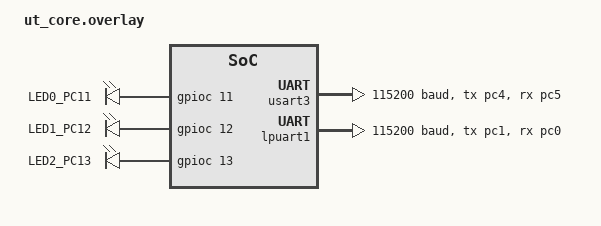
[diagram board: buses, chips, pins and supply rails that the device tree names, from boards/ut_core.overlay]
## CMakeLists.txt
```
# SPDX-License-Identifier: Apache-2.0

cmake_minimum_required(VERSION 3.20.0)

set(BOARD ut_core)

find_package(Zephyr REQUIRED HINTS $ENV{ZEPHYR_BASE})
project(gnss_node)

target_sources(app PRIVATE
    src/main.c
    #gps_test_app.c
    orion_b16/orion_b16_parser.c
    orion_b16/orion_b16_commands.c
    orion_b16/orion_b16_driver.c
    orion_b16/orion_b16_config.c
)

target_include_directories(app PRIVATE
    ${CMAKE_CURRENT_SOURCE_DIR}/orion_b16
    $ENV{ROOT}
)

add_subdirectory($ENV{ROOT}/common ${CMAKE_BINARY_DIR}/common)
target_link_libraries(app PRIVATE common)
```

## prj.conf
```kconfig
# # --- FLASH ---
# CONFIG_FLASH=y
# CONFIG_FLASH_MAP=y
# CONFIG_MPU_ALLOW_FLASH_WRITE=y

# CONFIG_CACHE_MANAGEMENT=y

# CONFIG_SERIAL=y
# CONFIG_UART_INTERRUPT_DRIVEN=y
# CONFIG_I2C=y
# CONFIG_CAN=y
# CONFIG_CAN_STM32_FDCAN=y

# # --- CONSOLE (UART on USART3) ---
# CONFIG_CONSOLE=y
# CONFIG_STDOUT_CONSOLE=y
# CONFIG_UART_CONSOLE=y

# # --- PRINTK / LOGGING ---
# CONFIG_PRINTK=y
# CONFIG_LOG=y
# CONFIG_LOG_BACKEND_UART=y
# CONFIG_LOG_MODE_DEFERRED=y
# CONFIG_LOG_BUFFER_SIZE=4096

# CONFIG_CBPRINTF_FP_SUPPORT=y

# CONFIG_MAIN_STACK_SIZE=4096

# CONFIG_GPIO=y
# CONFIG_CAN=y
# CONFIG_CAN_STM32_FDCAN=y

# # --- LOGGING & CONSOLE SETUP (RTT) ---
# # 1. Force the Console subsystem to stay ON
# CONFIG_CONSOLE=y
# CONFIG_STDOUT_CONSOLE=y

# # 2. Configure RTT as the backend
# CONFIG_USE_SEGGER_RTT=y
# CONFIG_RTT_CONSOLE=y

# # 3. Disable UART/Serial to prevent conflicts
# CONFIG_UART_CONSOLE=n
# CONFIG_SERIAL=n

# # 4. Connect Printk and Logging to RTT
# CONFIG_PRINTK=y
# CONFIG_LOG=y
# CONFIG_LOG_BACKEND_RTT=y
# CONFIG_LOG_BACKEND_UART=n
# CONFIG_LOG_MODE_IMMEDIATE=y

# CONFIG_NEWLIB_LIBC=y
# CONFIG_NEWLIB_LIBC_FLOAT_PRINTF=y


# ── Core ──
CONFIG_GPIO=y
CONFIG_I2C=y
CONFIG_MAIN_STACK_SIZE=4096

# ── Serial / UART (needed for GNSS on LPUART1) ──
CONFIG_SERIAL=y
CONFIG_UART_INTERRUPT_DRIVEN=y

# ── Console via Segger RTT (not UART) ──
CONFIG_CONSOLE=y
CONFIG_STDOUT_CONSOLE=y
CONFIG_USE_SEGGER_RTT=y
CONFIG_RTT_CONSOLE=y
CONFIG_UART_CONSOLE=n

# ── Logging via RTT ──
CONFIG_PRINTK=y
CONFIG_LOG=y
CONFIG_LOG_BACKEND_RTT=y
CONFIG_LOG_BACKEND_UART=n
CONFIG_LOG_MODE_IMMEDIATE=y
CONFIG_LOG_BUFFER_SIZE=4096

# ── Float printing (needed for lat/lon in LOG_INF) ──
CONFIG_NEWLIB_LIBC=y
CONFIG_NEWLIB_LIBC_FLOAT_PRINTF=y
CONFIG_CBPRINTF_FP_SUPPORT=y

# ── Flash ──
CONFIG_FLASH=y
CONFIG_FLASH_MAP=y
CONFIG_MPU_ALLOW_FLASH_WRITE=y
CONFIG_CACHE_MANAGEMENT=y

# ── CAN (if your board uses FDCAN) ──
CONFIG_CAN=y
CONFIG_CAN_STM32_FDCAN=y
```

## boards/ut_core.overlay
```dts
#include <zephyr/dt-bindings/gpio/gpio.h>

/ {
    pins {
        compatible = "gpio-leds";

        led0: led_0 {
            gpios = <&gpioc 11 GPIO_ACTIVE_HIGH>;
            label = "LED0_PC11";
        };

        led1: led_1 {
            gpios = <&gpioc 12 GPIO_ACTIVE_HIGH>;
            label = "LED1_PC12";
        };

        led2: led_2 {
            gpios = <&gpioc 13 GPIO_ACTIVE_HIGH>;
            label = "LED2_PC13";
        };
    };

    aliases {
        led0 = &led0;
        led1 = &led1;
        led2 = &led2;
    };

    chosen {
        zephyr,console = &usart3;
    };
};

&pinctrl {
    /* Console UART: USART3 on PC4 (TX) / PC5 (RX) */
    usart3_tx_pc4: usart3_tx_pc4 {
        pinmux = <STM32_PINMUX('C', 4, AF7)>;
    };

    usart3_rx_pc5: usart3_rx_pc5 {
        pinmux = <STM32_PINMUX('C', 5, AF7)>;
    };

    /* GNSS UART: LPUART1 on PC1 (TX) / PC0 (RX) → Orion B16 */
    lpuart1_tx_pc1: lpuart1_tx_pc1 {
        pinmux = <STM32_PINMUX('C', 1, AF8)>;
    };

    lpuart1_rx_pc0: lpuart1_rx_pc0 {
        pinmux = <STM32_PINMUX('C', 0, AF8)>;
    };
};

/* Console to PC */
&usart3 {
    status = "okay";
    current-speed = <115200>;
    pinctrl-0 = <&usart3_tx_pc4 &usart3_rx_pc5>;
    pinctrl-names = "default";
};

/* GNSS receiver (Orion B16) */
&lpuart1 {
    status = "okay";
    current-speed = <115200>;
    pinctrl-0 = <&lpuart1_tx_pc1 &lpuart1_rx_pc0>;
    pinctrl-names = "default";
};
```

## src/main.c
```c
/**
 * @defgroup gnss GNSS
 * @ingroup apps
 * @brief Global Navigation Satellite System
 * @include{doc} ./apps/GNSS/README.md
 */

/**
 * @file main.c
 * @ingroup gnss
 * @brief Orion B16 GNSS driver + CAN telemetry for UT-CORE bus.
 *
 * Initializes the Orion B16 GNSS receiver over UART and a CAN transceiver,
 * then runs a loop broadcasting heartbeats and periodic GNSS state-of-health
 * and position telemetry, while a separate thread handles incoming CAN
 * commands (position queries, update-rate changes) from CDH.
 *
 * @todo move CAN code shared between apps into the `common/` directory at git root.
 */

#include <zephyr/kernel.h>
#include <zephyr/device.h>
#include <zephyr/devicetree.h>
#include <zephyr/drivers/gpio.h>
#include <zephyr/drivers/can.h>
#include <zephyr/logging/log.h>
#include <string.h>

#include "orion_b16_driver.h"
#include "orion_b16_protocol.h"
#include "orion_b16_messages.h"
#include "common/can_proto.h"

/** @cond */ /* Hidden from Doxygen, or it will mistake this as a function */
LOG_MODULE_REGISTER(gnss_app, CONFIG_LOG_DEFAULT_LEVEL);
/** @endcond */

/* ===================================================== */
/* ================= CAN PROTOCOL ====================== */
/* ===================================================== */
/*
 * @name CAN Protocol
 * @brief Node IDs, priorities, and timing constants used on the bus.
 * @{
 */

#define NODE_ID       GNSS_ID   /* 0x06 */
#define NODE_CDH      CDH_ID    /* 0x01 */

#define PRIO_HIGH  0
#define PRIO_MED   2
#define PRIO_LOW   4

#define TIME_INTERVAL_MS   (60*60*1000) /* Send GPS time to CDH every hour */


/* @} */

/* ===================================================== */
/* ================= HW DEVICES ======================== */
/* ===================================================== */
/*
 * @name Hardware Devices
 * @brief GPIO/CAN device handles, transceiver pins, GNSS driver instance,
 *        and the CAN RX message queue.
 * @{
 */

static const struct device *const gpioa  = DEVICE_DT_GET(DT_NODELABEL(gpioa));
static const struct device *const can_dev = DEVICE_DT_GET(DT_NODELABEL(fdcan1));

/* GNSS driver instance */
static orion_driver_t gnss_driver;

/** @cond */ /* Hidden from Doxygen, or it will mistake this as a function */
/* CAN RX queue */
CAN_MSGQ_DEFINE(rxq, 16);
/** @endcond */

/* @} */

/* ===================================================== */
/* ================= CAN TX ============================ */
/* ===================================================== */
/*
 * @name CAN TX
 * @brief Outbound CAN frame construction: heartbeat, state-of-health, and
 *        position telemetry.
 * @{
 */

/**
 * @brief Broadcast an OP_HEARTBEAT frame announcing this node is alive.
 *
 * Sent periodically from main()'s loop at HEARTBEAT_INTERVAL_MS.
 */
static void send_heartbeat(void)
{
    int err = can_send2(can_dev, NODE_ID, CAN_BROADCAST, OP_HEARTBEAT, PRIO_LOW, 0x00, 0x00);
    if (err) {
        LOG_WRN("Failed to send CAN reply: %d", err);
    }
    LOG_INF("TX heartbeat");
}

/**
 * @brief Send a state-of-health frame: fix status, SV count, and DOP.
 *
 * Packs fix mode, satellite count, HDOP/PDOP (scaled by 10 and clamped to
 * 255), configured update rate, and a driver-running status flag into an
 * 8-byte OP_SOH_GNSS frame addressed to CDH.
 *
 * Payload:
 *   [0] fix_mode  (0=none, 2=2D, 3=3D, 4=3D+DGPS)
 *   [1] sv_count
 *   [2] HDOP * 10  (clamped to 255)
 *   [3] PDOP * 10  (clamped to 255)
 *   [4] update_rate_hz
 *   [5] status flags (bit0 = driver running)
 *   [6..7] unused (0)
 *
 * @todo hdop/pdop are divided by 10 under a comment claiming the source
 *       value is already ×100 ("we want *10"), but the resulting math
 *       (÷10 on a ×100 value) yields ×10 scale only if that premise is
 *       correct — worth double-checking against orion_nav_data_t's actual
 *       documented units to confirm hdop/pdop aren't ×1000 or similar,
 *       since a silent scale error here wouldn't be caught by the clamp.
 */
static void send_gnss_soh(void)
{
    orion_nav_data_t nav;
    orion_driver_get_nav(&gnss_driver, &nav);

    uint16_t hdop10 = nav.hdop / 10;  /* hdop is *100, we want *10 */
    uint16_t pdop10 = nav.pdop / 10;
    if (hdop10 > 255) hdop10 = 255;
    if (pdop10 > 255) pdop10 = 255;

    uint8_t flags = gnss_driver.running ? 0x01 : 0x00;

    int err = can_send8(can_dev, NODE_ID, NODE_CDH, OP_SOH_GNSS, PRIO_LOW,
        nav.fix_mode,
        nav.sv_count,
        (uint8_t)hdop10,
        (uint8_t)pdop10,
        gnss_driver.cfg.update_rate_hz,
        flags,
        0,
        0
    );
    if (err) {
        LOG_WRN("Failed to send OP_SOH_GNSS: %d", err);
    }

    LOG_INF("TX SOH  fix=%u sv=%u hdop=%u pdop=%u",
            nav.fix_mode, nav.sv_count, (unsigned)hdop10, (unsigned)pdop10);
}

/**
 * @brief Send a position telemetry frame with lat/lon packed as scaled
 *        24-bit integers.
 *
 * Converts nav.latitude_1e7/longitude_1e7 (1e-7 degree units) down to
 * 1e-4 degree resolution (~11m) and packs each as a signed 24-bit
 * big-endian value into an 8-byte OP_GNSS_POS frame addressed to CDH.
 * Does nothing if the current nav fix is not valid.
 *
 * Packs lat/lon as scaled int24 for decent resolution in 8 bytes:
 *   [0..2] latitude  × 1e4, signed 24-bit big-endian  (~11m resolution)
 *   [3..5] longitude × 1e4, signed 24-bit big-endian
 */
static void send_gnss_position(orion_nav_data_t *nav)
{
    /* lat/lon are in 1e-7 degrees; divide by 1000 → 1e-4 degrees */
    int32_t lat_1e4 = nav->latitude_1e7  / 1000;
    int32_t lon_1e4 = nav->longitude_1e7 / 1000;

    /* lat/lon: 24-bit big-endian each; bytes 6..7 unused (0) */
    int err = can_send8(can_dev, NODE_ID, NODE_CDH, OP_GNSS_POS, PRIO_MED,
        (lat_1e4 >> 16) & 0xFF,
        (lat_1e4 >>  8) & 0xFF,
        (lat_1e4      ) & 0xFF,
        (lon_1e4 >> 16) & 0xFF,
        (lon_1e4 >>  8) & 0xFF,
        (lon_1e4      ) & 0xFF,
        0,
        0
    );
    if (err) {
        LOG_WRN("Failed to send OP_GNSS_POS: %d", err);
    }

    double lat = ORION_DEG_FROM_1E7(nav->latitude_1e7);
    double lon = ORION_DEG_FROM_1E7(nav->longitude_1e7);
    LOG_INF("TX POS  lat=%.6f lon=%.6f", lat, lon);
}


/**
 * @brief Send one ECEF velocity component to CDH in its own telemetry frame.
 * @param v_data Velocity component in cm/s (signed 32-bit).
 * @param op     Which axis: OP_GNSS_VX, OP_GNSS_VY or OP_GNSS_VZ.
 * @param seq    Sequence number shared by the VX/VY/VZ frames of one nav
 *               snapshot, so CDH can tell whether the three axes belong
 *               together.
 *
 * Frame layout:
 *   [0..3] velocity, signed 32-bit big-endian (cm/s)
 *   [4] seq (uint8_t, wraps 255 -> 0)
 *   [5..7] unused (0)
 */
static void send_gnss_velocity(int32_t v_data, uint16_t op, uint8_t seq)
{
    /* velocity: 32-bit big-endian in [0..3]; [4] = sequence number shared by
     * VX/VY/VZ from the same nav snapshot; [5..7] unused (0) */
    int err = can_send8(can_dev, NODE_ID, NODE_CDH, op, PRIO_MED,
        (v_data >> 24) & 0xFF,
        (v_data >> 16) & 0xFF,
        (v_data >> 8) & 0xFF,
        (v_data     ) & 0xFF,
        seq,
        0,
        0,
        0
    );
    if (err) {
        LOG_WRN("Failed to send velocity op=0x%03X: %d", op, err);
    }

    LOG_INF("TX VEL  op=0x%03X seq=%u v=%d cm/s", op, seq, v_data);
}

/**
 * @brief Send position and all three velocity components for the current
 *        nav fix.
 *
 * Does nothing if the nav data is not valid. The three velocity frames
 * share one sequence number (vel_seq), which increments once per call, so
 * CDH can detect a dropped or mixed-up velocity set. The counter is
 * compared for equality only, so its 8-bit wrap needs no special handling.
 */
static void send_gnss_master(void)
{
    static uint8_t vel_seq;  /* wraps 255 -> 0; CDH only compares for equality */
    orion_nav_data_t nav;
    orion_driver_get_nav(&gnss_driver, &nav);

    if (!nav.valid) {
        return;  /* don't send garbage */
    }

    send_gnss_position(&nav);
    send_gnss_velocity(nav.ecef_vx_cms, OP_GNSS_VX, vel_seq);
    send_gnss_velocity(nav.ecef_vy_cms, OP_GNSS_VY, vel_seq);
    send_gnss_velocity(nav.ecef_vz_cms, OP_GNSS_VZ, vel_seq);
    vel_seq++;
}


/**
 * @brief Send the current GPS time (week + time-of-week) to CDH.
 * @return true if a frame was sent; false if there is no usable fix, in
 *         which case the caller should retry on its next pass.
 *
 * The time is GPS time, not UTC (GPS is currently ahead of UTC by the
 * leap-second count). Conversion is deliberately left to CDH/ground. The
 * value is the time of the receiver's last nav solution, so it is up to
 * about one nav interval old when sent, plus bus latency.
 *
 * Frame layout:
 *   [0..1] GPS week, unsigned 16-bit big-endian
 *   [2..5] time of week in centiseconds, unsigned 32-bit big-endian
 */
static bool send_gnss_time(void)
{
    orion_nav_data_t nav;
    orion_driver_get_nav(&gnss_driver, &nav);

    if (!nav.valid || nav.fix_mode == 0) {
        return false; /*don't send a time if no fix found*/
    }

    /* week: 16-bit big-endian; time-of-week: 32-bit big-endian centiseconds;
     * bytes 6..7 unused (0) */
    int err = can_send8(can_dev, NODE_ID, NODE_CDH, OP_GNSS_TIME, PRIO_MED,
        (nav.gnss_week >> 8) & 0xFF,
        (nav.gnss_week) & 0xFF,
        (nav.tow_cs >> 24) & 0xFF,
        (nav.tow_cs >> 16) & 0xFF,
        (nav.tow_cs >> 8) & 0xFF,
        (nav.tow_cs) & 0xFF,
        0,
        0
    );
    if (err) {
        LOG_WRN("Failed to send OP_GNSS_TIME: %d", err);
    }
    LOG_INF("TX TIME week=%u tow=%u.%02u s", nav.gnss_week,
            nav.tow_cs / 100, nav.tow_cs % 100);
    return true;
}
/* @} */

/* ===================================================== */
/* ================= CAN RX ============================ */
/* ===================================================== */
/*
 * @name CAN RX
 * @brief Inbound CAN frame decoding and message dispatch.
 * @{
 */


/**
 * @brief Handle an incoming command frame from CDH.
 * @param pkt Decoded CAN packet; pkt->op is the opcode.
 *
 * OP_GET_POS replies immediately with the current position plus an
 * OP_RESP_GET_POS ack. OP_SET_UPDATE_RATE (data[0] = requested rate in
 * Hz) attempts to apply the new rate via the GNSS driver and replies with
 * OP_RESP_SET_UPDATE_RATE carrying the accepted rate on success or 0x00 on
 * failure.
 */
static void handle_command(const can_packet_t *pkt)
{
    switch (pkt->op) {
    case OP_GET_POS: {
        /* CDH asked for current position — reply immediately */
        send_gnss_master();
        int err = can_send2(can_dev, NODE_ID, pkt->src, OP_RESP_GET_POS, PRIO_LOW, 0x01, 0x00);
        if (err) {
            LOG_WRN("Failed to send CAN reply: %d", err);
        }
        LOG_INF("RX query position from 0x%02X", pkt->src);
        break;
    }

    case OP_SET_UPDATE_RATE: {
        /* data[0] = new rate in Hz */
        uint8_t rate = pkt->data[0];
        int rc = orion_driver_set_update_rate(&gnss_driver, rate);
        uint8_t ack_val = (rc == 1) ? rate : 0x00;
        int err = can_send2(can_dev, NODE_ID, pkt->src, OP_RESP_SET_UPDATE_RATE, PRIO_LOW, ack_val, 0x00);
        if (err) {
            LOG_WRN("Failed to send CAN reply: %d", err);
        }
        LOG_INF("RX set update rate=%u Hz → %s", rate, rc == 1 ? "ACK" : "NACK");
        break;
    }

    default:
        LOG_WRN("Unknown command opcode: 0x%03X", pkt->op);
        break;
    }
}

/**
 * @brief Handle a received OP_HEARTBEAT frame.
 * @param pkt Decoded CAN packet.
 *
 * Currently only logs the sender; no liveness table is maintained here.
 */
static void handle_heartbeat(const can_packet_t *pkt)
{
    LOG_INF("RX heartbeat from 0x%02X", pkt->src);
}

/**
 * @brief Route a decoded CAN packet to its handler by opcode.
 * @param pkt Decoded CAN packet.
 *
 * Dispatches OP_HEARTBEAT to handle_heartbeat() and OP_GET_POS /
 * OP_SET_UPDATE_RATE to handle_command(). Unrecognized opcodes are logged
 * as warnings and dropped.
 */
static void can_dispatch(const can_packet_t *pkt)
{
    switch (pkt->op) {
    case OP_HEARTBEAT:       handle_heartbeat(pkt); break;
    case OP_GET_POS:
    case OP_SET_UPDATE_RATE: handle_command(pkt);   break;
    default:
        LOG_WRN("Unhandled op: 0x%03X from 0x%02X", pkt->op, pkt->src);
        break;
    }
}

/* @} */

/* ===================================================== */
/* ================= CAN SETUP ========================= */
/* ===================================================== */
/*
 * @name CAN Setup
 * @brief Transceiver wakeup and CAN controller/filter initialization.
 * @{
 */

/* @} */

/* ===================================================== */
/* ================= CAN RX THREAD ===================== */
/* ===================================================== */
/*
 * @name CAN RX Thread
 * @brief Dedicated thread draining the CAN RX queue and dispatching
 *        received frames.
 * @{
 */

#define CAN_RX_STACK_SIZE  1024
#define CAN_RX_PRIORITY    5

/**
 * @brief Thread entry point: blocks on the CAN RX queue, decoding and
 *        dispatching each frame as it arrives.
 * @param a Unused thread argument.
 * @param b Unused thread argument.
 * @param c Unused thread argument.
 */
static void can_rx_thread(void *a, void *b, void *c)
{
    struct can_frame frame;
    can_packet_t pkt;

    while (1) {
        if (k_msgq_get(&rxq, &frame, K_FOREVER) == 0) {
            if (can_decode(&frame, &pkt) != 0) {
                continue;
            }
            can_dispatch(&pkt);
        }
    }
}

/** @cond */ /* Hidden from Doxygen, or it will mistake this as a function */
K_THREAD_DEFINE(can_rx_tid, CAN_RX_STACK_SIZE,
    can_rx_thread, NULL, NULL, NULL,
    CAN_RX_PRIORITY, 0, 0);
/** @endcond */

/* @} */

/* ===================================================== */
/* ============== GNSS NAV CALLBACK ==================== */
/* ===================================================== */
/*
 * @name GNSS Nav Callback
 * @brief Callback invoked by the Orion driver whenever a new nav fix is
 *        available.
 * @{
 */

/**
 * @brief Nav-update callback registered with the Orion driver.
 * @param nav  Latest nav fix data from the GNSS driver.
 * @param user Unused user-data pointer (registered as NULL).
 *
 * Logs fix mode, position, altitude, velocity, and satellite count when
 * the fix is valid; logs a warning and returns early otherwise.
 */
static void on_nav_update(const orion_nav_data_t *nav, void *user)
{
    (void)user;

    if (!nav->valid) {
        LOG_WRN("NAV callback: invalid fix");
        return;
    }

    double lat = ORION_DEG_FROM_1E7(nav->latitude_1e7);
    double lon = ORION_DEG_FROM_1E7(nav->longitude_1e7);
    double alt = ORION_M_FROM_CM(nav->msl_alt_cm);

    const char *fix_str;
    switch (nav->fix_mode) {
        case ORION_FIX_2D:      fix_str = "2D";       break;
        case ORION_FIX_3D:      fix_str = "3D";       break;
        case ORION_FIX_3D_DGPS: fix_str = "3D+DGPS";  break;
        default:                fix_str = "NONE";      break;
    }

    LOG_INF("FIX %s | lat=%.6f lon=%.6f alt=%.2fm | SVs=%u | vx=%d vy=%d vz=%d cm/s",
            fix_str, lat, lon, alt, nav->sv_count,
            nav->ecef_vx_cms, nav->ecef_vy_cms, nav->ecef_vz_cms);
}

/* @} */

/* ===================================================== */
/* ================= MAIN ============================== */
/* ===================================================== */
/*
 * @name Main
 * @brief Application entry point.
 * @{
 */

/* Forward declaration for config recipe */
extern int orion_config_cubesat_default(orion_driver_t *drv, uint8_t rate_hz, bool save);

#define HEARTBEAT_INTERVAL_MS   1000
#define SOH_INTERVAL_MS         5000
#define POS_INTERVAL_MS         5000

/**
 * @brief Entry point: initializes the GNSS driver and CAN bus, then runs
 *        the main loop broadcasting heartbeats and periodic telemetry.
 *
 * Boot sequence: verify GPIOA is ready, initialize and start the Orion
 * B16 GNSS driver over UART with a nav-update callback registered, apply
 * the default CubeSat GNSS config, then wake the CAN transceiver and
 * bring up the bus. The main loop sends a heartbeat every
 * HEARTBEAT_INTERVAL_MS, a state-of-health frame every SOH_INTERVAL_MS,
 * and position telemetry plus a detailed nav/stats log line every
 * POS_INTERVAL_MS.
 *
 * @return Returns the driver init/start error code early on failure, or 0
 *         if GPIOA isn't ready; otherwise does not return under normal
 *         operation.
 */
int main(void)
{
    LOG_INF("=== Orion B16 GNSS + CAN Application ===");

    /* ── GPIO check ── */
    if (!device_is_ready(gpioa)) {
        LOG_ERR("GPIOA not ready");
        return 0;
    }

    /* ── GNSS driver init ── */
    orion_driver_cfg_t cfg = ORION_DRIVER_CFG_DEFAULTS;
    cfg.uart_dev = DEVICE_DT_GET(DT_NODELABEL(lpuart1));

    int rc = orion_driver_init(&gnss_driver, &cfg);
    if (rc != 0) {
        LOG_ERR("GNSS driver init failed: %d", rc);
        return rc;
    }

    orion_driver_register_nav_callback(&gnss_driver, on_nav_update, NULL);

    rc = orion_driver_start(&gnss_driver);
    if (rc != 0) {
        LOG_ERR("GNSS driver start failed: %d", rc);
        return rc;
    }

    orion_config_cubesat_default(&gnss_driver, 1, false);
    LOG_INF("GNSS driver running, waiting for fix...");

    /* ── CAN bus init ── */
    tcan3403_wakeup();
    int err = can_setup(can_dev, NODE_ID, &rxq, NULL);
    if (err) {
        LOG_ERR("CAN Setup failed: %d", err);
        return 0;
    }

    LOG_INF("Running — GNSS + CAN active");

    /* ── Main loop ── */
    int64_t last_hb  = k_uptime_get();
    int64_t last_soh = k_uptime_get();
    int64_t last_pos = k_uptime_get();
    /* Start one interval in the past so the first time frame goes out on the
     * first good fix; later, last_time only resets after a successful send,
     * so a missed hour is retried on the next pass instead of waiting
     * another hour. */
    int64_t last_time = -(int64_t)TIME_INTERVAL_MS;

    while (1) {
        int64_t now = k_uptime_get();

        if ((now - last_hb) >= HEARTBEAT_INTERVAL_MS) {
            send_heartbeat();
            last_hb = now;
        }

        if ((now - last_soh) >= SOH_INTERVAL_MS) {
            send_gnss_soh();
            last_soh = now;
        }

        if ((now - last_pos) >= POS_INTERVAL_MS) {
            send_gnss_master();

            /* Print detailed nav + stats on the same 5s cadence */
            orion_nav_data_t nav;
            orion_driver_get_nav(&gnss_driver, &nav);
            if (nav.valid) {
                double lat = ORION_DEG_FROM_1E7(nav.latitude_1e7);
                double lon = ORION_DEG_FROM_1E7(nav.longitude_1e7);
                double alt = ORION_M_FROM_CM(nav.msl_alt_cm);
                LOG_INF("NAV fix=%u sv=%u lat=%.6f lon=%.6f alt=%.2fm vx=%d vy=%d vz=%d cm/s",
                        nav.fix_mode, nav.sv_count, lat, lon, alt,
                        nav.ecef_vx_cms, nav.ecef_vy_cms, nav.ecef_vz_cms);
            } else {
                LOG_INF("No valid fix yet.");
            }

            uint32_t rx_b, tx_b, nav_cnt, f_ok, f_err;
            orion_driver_get_stats(&gnss_driver, &rx_b, &tx_b, &nav_cnt, &f_ok, &f_err);
            LOG_INF("Stats: RX=%u TX=%u nav=%u ok=%u err=%u",
                    rx_b, tx_b, nav_cnt, f_ok, f_err);

            last_pos = now;
        }
        if ((now - last_time) >= TIME_INTERVAL_MS) {
            if (send_gnss_time()) {
                last_time = now;
            }
        }

        k_msleep(100);
    }

    return 0;
}

/* @} */
```
